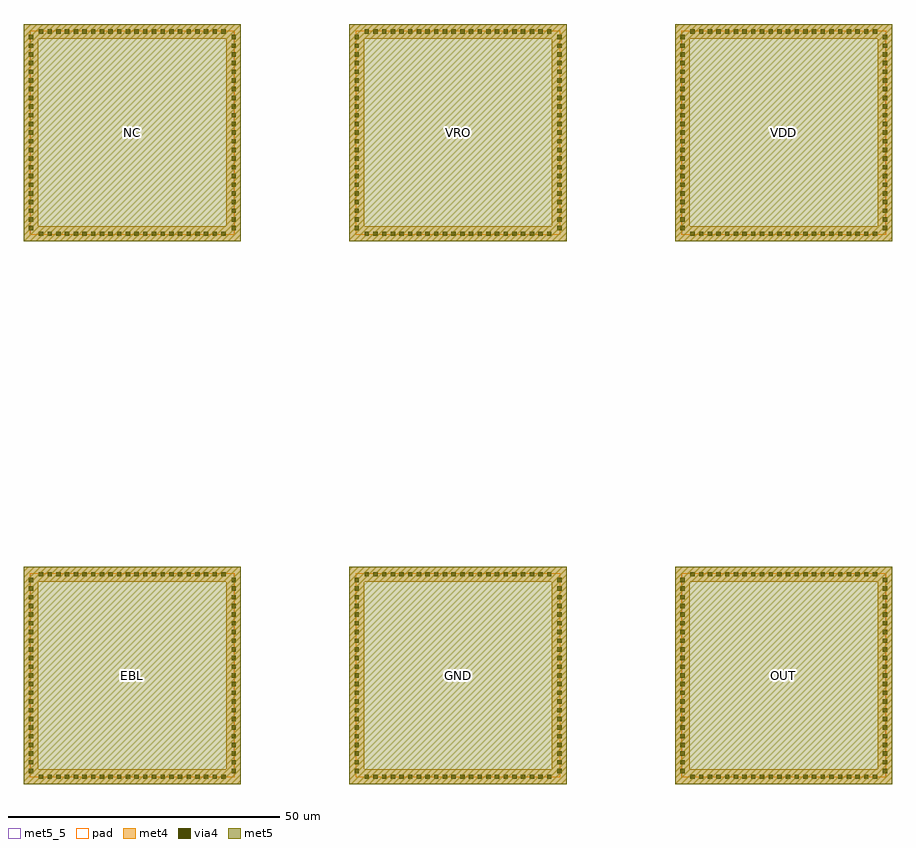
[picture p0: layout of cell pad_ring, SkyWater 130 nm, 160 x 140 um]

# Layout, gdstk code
import gdstk
lib = gdstk.Library(unit=1e-6, precision=1e-09)
def R(c, l, rs):  # rectangles x0, y0, x1, y1
    for r in rs: c.add(gdstk.rectangle(r[:2], r[2:], *l))
def A(c, l, x, y, w, h, nx, ny, dx, dy):  # array of equal rectangles
    R(c, l, [(x+i*dx, y+j*dy, x+i*dx+w, y+j*dy+h) for i in range(nx) for j in range(ny)])
met4 = (71, 20)
via4 = (71, 44)
met5_5 = (72, 5)
met5 = (72, 20)
pad = (76, 20)

pad_forty = lib.new_cell('pad_forty')
R(pad_forty, met4, [(0,0,40,2.7), (0,0,2.7,40), (37.3,0,40,40), (0,37.3,40,40)])
A(pad_forty, via4, 2.8, 0.95, 0.8, 0.8, 22, 2, 1.6, 37.28)
A(pad_forty, via4, 0.95, 2, 0.8, 0.8, 1, 23, 0, 1.6)
A(pad_forty, via4, 38.28, 2, 0.8, 0.8, 1, 23, 0, 1.6)
R(pad_forty, met5_5, [(1.2,1.2,38.8,38.8)])
R(pad_forty, met5, [(0,0,40,40)])
R(pad_forty, pad, [(1.15,1.2,38.85,38.8)])

pad_ring = lib.new_cell('pad_ring')
A(pad_ring, met5_5, 1.2, 1.2, 37.6, 37.6, 3, 2, 60, 100)
pad_ring.add(gdstk.Reference(pad_forty, (0,0)))
pad_ring.add(gdstk.Reference(pad_forty, (60,0)))
pad_ring.add(gdstk.Reference(pad_forty, (120,0)))
pad_ring.add(gdstk.Reference(pad_forty, (0,100)))
pad_ring.add(gdstk.Reference(pad_forty, (60,100)))
pad_ring.add(gdstk.Reference(pad_forty, (120,100)))
pad_ring.add(gdstk.Reference(pad_forty, (0,0)))
pad_ring.add(gdstk.Label('EBL', (20,20), layer=72, texttype=5))
pad_ring.add(gdstk.Label('GND', (80,20), layer=72, texttype=5))
pad_ring.add(gdstk.Label('OUT', (140,20), layer=72, texttype=5))
pad_ring.add(gdstk.Label('NC', (20,120), layer=72, texttype=5))
pad_ring.add(gdstk.Label('VRO', (80,120), layer=72, texttype=5))
pad_ring.add(gdstk.Label('VDD', (140,120), layer=72, texttype=5))

lib.write_gds('pad_ring.gds')
